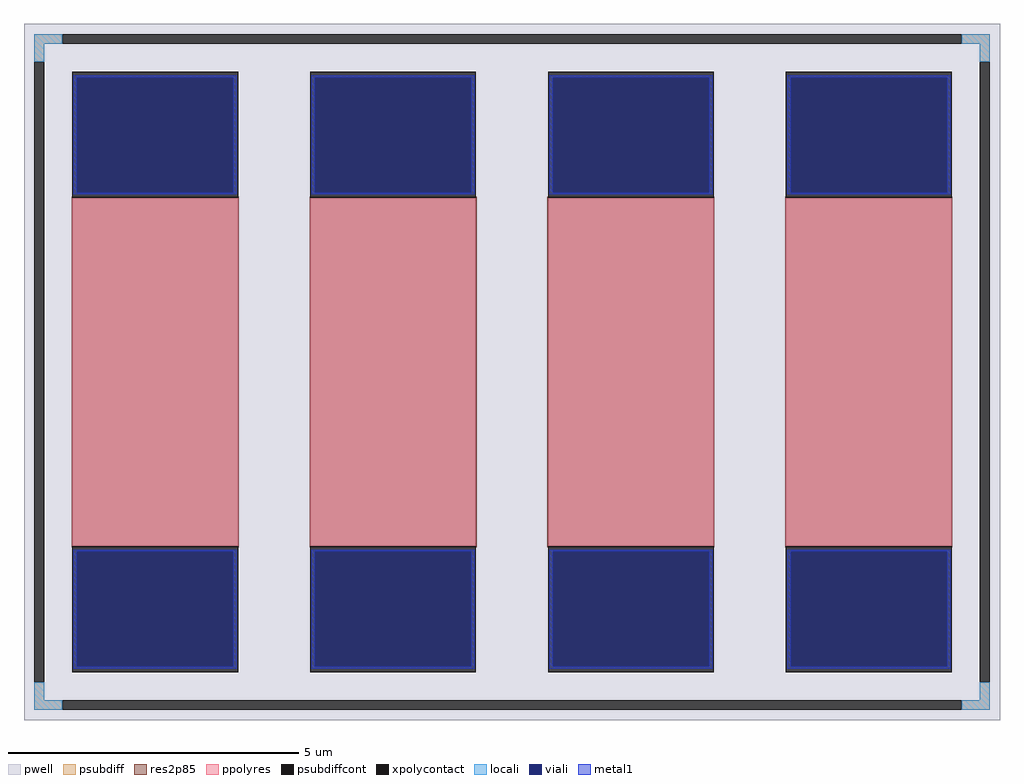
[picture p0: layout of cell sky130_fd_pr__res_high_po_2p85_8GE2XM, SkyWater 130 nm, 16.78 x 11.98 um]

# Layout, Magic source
magic
tech sky130A
magscale 1 2
<< pwell >>
rect -1678 -1198 1678 1198
<< psubdiff >>
rect -1642 1128 -1546 1162
rect 1546 1128 1642 1162
rect -1642 1066 -1608 1128
rect 1608 1066 1642 1128
rect -1642 -1128 -1608 -1066
rect 1608 -1128 1642 -1066
rect -1642 -1162 -1546 -1128
rect 1546 -1162 1642 -1128
<< psubdiffcont >>
rect -1546 1128 1546 1162
rect -1642 -1066 -1608 1066
rect 1608 -1066 1642 1066
rect -1546 -1162 1546 -1128
<< xpolycontact >>
rect -1512 600 -942 1032
rect -1512 -1032 -942 -600
rect -694 600 -124 1032
rect -694 -1032 -124 -600
rect 124 600 694 1032
rect 124 -1032 694 -600
rect 942 600 1512 1032
rect 942 -1032 1512 -600
<< ppolyres >>
rect -1512 -600 -942 600
rect -694 -600 -124 600
rect 124 -600 694 600
rect 942 -600 1512 600
<< locali >>
rect -1642 1128 -1546 1162
rect 1546 1128 1642 1162
rect -1642 1066 -1608 1128
rect 1608 1066 1642 1128
rect -1642 -1128 -1608 -1066
rect 1608 -1128 1642 -1066
rect -1642 -1162 -1546 -1128
rect 1546 -1162 1642 -1128
<< viali >>
rect -1496 617 -958 1014
rect -678 617 -140 1014
rect 140 617 678 1014
rect 958 617 1496 1014
rect -1496 -1014 -958 -617
rect -678 -1014 -140 -617
rect 140 -1014 678 -617
rect 958 -1014 1496 -617
<< metal1 >>
rect -1508 1014 -946 1020
rect -1508 617 -1496 1014
rect -958 617 -946 1014
rect -1508 611 -946 617
rect -690 1014 -128 1020
rect -690 617 -678 1014
rect -140 617 -128 1014
rect -690 611 -128 617
rect 128 1014 690 1020
rect 128 617 140 1014
rect 678 617 690 1014
rect 128 611 690 617
rect 946 1014 1508 1020
rect 946 617 958 1014
rect 1496 617 1508 1014
rect 946 611 1508 617
rect -1508 -617 -946 -611
rect -1508 -1014 -1496 -617
rect -958 -1014 -946 -617
rect -1508 -1020 -946 -1014
rect -690 -617 -128 -611
rect -690 -1014 -678 -617
rect -140 -1014 -128 -617
rect -690 -1020 -128 -1014
rect 128 -617 690 -611
rect 128 -1014 140 -617
rect 678 -1014 690 -617
rect 128 -1020 690 -1014
rect 946 -617 1508 -611
rect 946 -1014 958 -617
rect 1496 -1014 1508 -617
rect 946 -1020 1508 -1014
<< res2p85 >>
rect -1514 -602 -940 602
rect -696 -602 -122 602
rect 122 -602 696 602
rect 940 -602 1514 602
<< properties >>
string FIXED_BBOX -1625 -1145 1625 1145
string gencell sky130_fd_pr__res_high_po_2p85
string library sky130
string parameters w 2.850 l 6 m 1 nx 4 wmin 2.850 lmin 0.50 rho 319.8 val 809.978 dummy 0 dw 0.0 term 194.82 sterm 0.0 caplen 0 guard 1 glc 1 grc 1 gtc 1 gbc 1 compatible {sky130_fd_pr__res_high_po_0p35  sky130_fd_pr__res_high_po_0p69 sky130_fd_pr__res_high_po_1p41  sky130_fd_pr__res_high_po_2p85 sky130_fd_pr__res_high_po_5p73} full_metal 1 wmax 2.850 n_guard 0 hv_guard 0 vias 1 viagb 0 viagt 0 viagl 0 viagr 0
<< end >>
